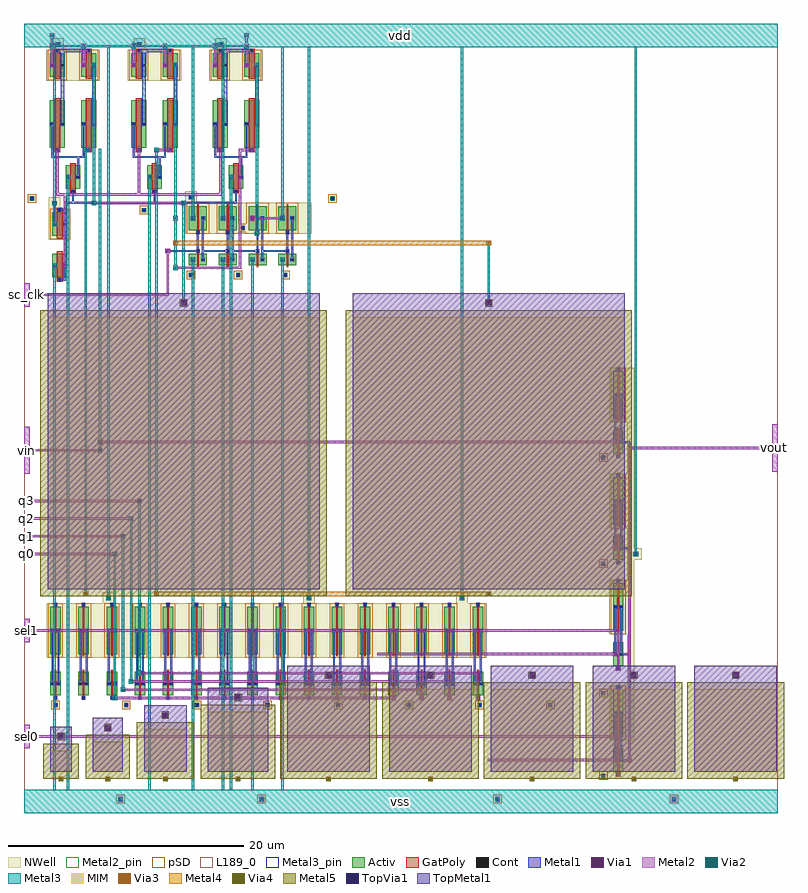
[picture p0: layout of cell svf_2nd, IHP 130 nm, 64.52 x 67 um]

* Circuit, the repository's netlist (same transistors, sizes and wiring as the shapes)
* 2nd-order SC SVF — IHP SG13G2 LVS reference netlist
* Transcribed from extracted layout topology
* 34 NMOS + 31 PMOS + 11 cap_cmim = 76 devices

.SUBCKT svf_2nd q0 q1 q2 q3 sc_clk sel0 sel1 vdd vin vout vss

* ---- SC CMOS switches (12 pairs: NMOS W=2u L=0.13u + PMOS W=4u L=0.13u) ----
MNs1  sa1  sg1  sb1  vss sg13_lv_nmos W=2u L=0.13u
MPs1  sa1  pg1  sb1  vdd sg13_lv_pmos W=4u L=0.13u
MNs2  sa2  sg2  sb2  vss sg13_lv_nmos W=2u L=0.13u
MPs2  sa2  pg2  sb2  vdd sg13_lv_pmos W=4u L=0.13u
MNs3  sa3  sg3  sb3  vss sg13_lv_nmos W=2u L=0.13u
MPs3  sa3  pg3  sb3  vdd sg13_lv_pmos W=4u L=0.13u
MNs4  sa4  sg4  sb4  vss sg13_lv_nmos W=2u L=0.13u
MPs4  sa4  pg4  sb4  vdd sg13_lv_pmos W=4u L=0.13u
MNs5  sa5  sg5  sb5  vss sg13_lv_nmos W=2u L=0.13u
MPs5  sa5  pg5  sb5  vdd sg13_lv_pmos W=4u L=0.13u
MNs6  sa6  sg6  sb6  vss sg13_lv_nmos W=2u L=0.13u
MPs6  sa6  pg6  sb6  vdd sg13_lv_pmos W=4u L=0.13u
MNs7  sa7  sg7  sb7  vss sg13_lv_nmos W=2u L=0.13u
MPs7  sa7  pg7  sb7  vdd sg13_lv_pmos W=4u L=0.13u
MNs8  sa8  sg8  sb8  vss sg13_lv_nmos W=2u L=0.13u
MPs8  sa8  pg8  sb8  vdd sg13_lv_pmos W=4u L=0.13u
MNs9  sa9  sg9  sb9  vss sg13_lv_nmos W=2u L=0.13u
MPs9  sa9  pg9  sb9  vdd sg13_lv_pmos W=4u L=0.13u
MNs10 sa10 sg10 sb10 vss sg13_lv_nmos W=2u L=0.13u
MPs10 sa10 pg10 sb10 vdd sg13_lv_pmos W=4u L=0.13u
MNs11 sa11 sg11 sb11 vss sg13_lv_nmos W=2u L=0.13u
MPs11 sa11 pg11 sb11 vdd sg13_lv_pmos W=4u L=0.13u
MNs12 sa12 sg12 sb12 vss sg13_lv_nmos W=2u L=0.13u
MPs12 sa12 pg12 sb12 vdd sg13_lv_pmos W=4u L=0.13u

* ---- Output mux TGs (4 pairs: NMOS W=2u L=0.13u + PMOS W=4u L=0.13u) ----
MNq0  ma1  q0   mb1  vss sg13_lv_nmos W=2u L=0.13u
MPq0  ma1  pq1  mb1  vdd sg13_lv_pmos W=4u L=0.13u
MNq1  ma2  q1   mb2  vss sg13_lv_nmos W=2u L=0.13u
MPq1  ma2  pq2  mb2  vdd sg13_lv_pmos W=4u L=0.13u
MNq2  ma3  q2   mb3  vss sg13_lv_nmos W=2u L=0.13u
MPq2  ma3  pq3  mb3  vdd sg13_lv_pmos W=4u L=0.13u
MNq3  ma4  q3   mb4  vss sg13_lv_nmos W=2u L=0.13u
MPq3  ma4  pq4  mb4  vdd sg13_lv_pmos W=4u L=0.13u

* ---- Mux pass gates to vout (4 pairs: NMOS W=2u L=0.13u + PMOS W=4u L=0.13u) ----
MNm0  sel0 sel0 vout vss sg13_lv_nmos W=2u L=0.13u
MPm0  sel0 ps0  vout vdd sg13_lv_pmos W=4u L=0.13u
MNm1  sel1 sel1 vout vss sg13_lv_nmos W=2u L=0.13u
MPm1  sel1 ps1  vout vdd sg13_lv_pmos W=4u L=0.13u
MNm2  vin  mvgn vout vss sg13_lv_nmos W=2u L=0.13u
MPm2  vin  mvgp vout vdd sg13_lv_pmos W=4u L=0.13u
MNm3  mx0a mx0g vout vss sg13_lv_nmos W=2u L=0.13u
MPm3  mx0a mx0p vout vdd sg13_lv_pmos W=4u L=0.13u

* ---- OTA1 (BP integrator): diff pair W=4u L=0.5u ----
MNd1a t1   vcm  d1   vss sg13_lv_nmos W=4u L=0.5u
MNd1b t1   sum1 bp   vss sg13_lv_nmos W=4u L=0.5u
* OTA1 tail (W=2u L=0.5u)
MNt1  vss  vcm  t1   vss sg13_lv_nmos W=2u L=0.5u
* OTA1 PMOS loads (W=2u L=0.5u)
MPl1a vdd  d1   d1   nw1 sg13_lv_pmos W=2u L=0.5u
MPl1b vdd  d1   bp   nw1 sg13_lv_pmos W=2u L=0.5u

* ---- OTA2 (LP integrator): diff pair W=4u L=0.5u ----
MNd2a t2   vcm  d2   vss sg13_lv_nmos W=4u L=0.5u
MNd2b t2   sum2 sum3 vss sg13_lv_nmos W=4u L=0.5u
* OTA2 tail (W=2u L=0.5u)
MNt2  vss  vcm  t2   vss sg13_lv_nmos W=2u L=0.5u
* OTA2 PMOS loads (W=2u L=0.5u)
MPl2a vdd  d2   d2   nw2 sg13_lv_pmos W=2u L=0.5u
MPl2b vdd  d2   sum3 nw2 sg13_lv_pmos W=2u L=0.5u

* ---- OTA3 (sum/feedback): diff pair W=4u L=0.5u ----
MNd3a t3   vcm  d3   vss sg13_lv_nmos W=4u L=0.5u
MNd3b t3   sum3 lp   vss sg13_lv_nmos W=4u L=0.5u
* OTA3 tail (W=2u L=0.5u)
MNt3  vss  vcm  t3   vss sg13_lv_nmos W=2u L=0.5u
* OTA3 PMOS loads (W=2u L=0.5u)
MPl3a vdd  d3   d3   nw3 sg13_lv_pmos W=2u L=0.5u
MPl3b vdd  d3   lp   nw3 sg13_lv_pmos W=2u L=0.5u

* ---- Bias (NMOS diode + PMOS diode, W=2u L=0.5u) ----
MNbias vss  vcm  vcm  vss sg13_lv_nmos W=2u L=0.5u
MPbias vdd  vcm  vcm  vdd sg13_lv_pmos W=2u L=0.5u

* ---- NOL clock chain (4 inverters: NMOS W=1u L=0.13u + PMOS W=2u L=0.13u) ----
MNn1  vss  sc_clk n1  vss sg13_lv_nmos W=1u L=0.13u
MPn1  vdd  sc_clk n1  nw0 sg13_lv_pmos W=2u L=0.13u
MNn2  vss  n1     n2  vss sg13_lv_nmos W=1u L=0.13u
MPn2  vdd  n1     n2  nw0 sg13_lv_pmos W=2u L=0.13u
MNn3  vss  n2     n3  vss sg13_lv_nmos W=1u L=0.13u
MPn3  vdd  n2     n3  nw0 sg13_lv_pmos W=2u L=0.13u
MNn4  vss  n3     n4  vss sg13_lv_nmos W=1u L=0.13u
MPn4  vdd  n3     n4  nw0 sg13_lv_pmos W=2u L=0.13u

* ---- MIM capacitors (cap_cmim) ----
* Binary-weighted CQ caps
CC1  ct1  cb1  cap_cmim w=1.805u l=1.805u A=3.258025p P=7.22u m=1
CC2  ct2  cb2  cap_cmim w=2.555u l=2.555u A=6.528025p P=10.22u m=1
CC3  ct3  cb3  cap_cmim w=3.615u l=3.615u A=13.068225p P=14.46u m=1
CC4  ct4  cb4  cap_cmim w=5.11u l=5.11u A=26.1121p P=20.44u m=1
* Switching caps (5x 7u)
CC5  ct5  cb5  cap_cmim w=7u l=7u A=49p P=28u m=1
CC6  ct6  cb6  cap_cmim w=7u l=7u A=49p P=28u m=1
CC7  ct7  cb7  cap_cmim w=7u l=7u A=49p P=28u m=1
CC8  ct8  cb8  cap_cmim w=7u l=7u A=49p P=28u m=1
CC9  ct9  cb9  cap_cmim w=7u l=7u A=49p P=28u m=1
* Integration caps (2x 23.1u)
CC10 ct10 sum2 cap_cmim w=23.1u l=23.1u A=533.61p P=92.4u m=1
CC11 ct11 sum1 cap_cmim w=23.1u l=23.1u A=533.61p P=92.4u m=1

.ENDS svf_2nd

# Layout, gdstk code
import gdstk
lib = gdstk.Library(unit=1e-6, precision=1e-09)
def R(c, l, rs):  # rectangles x0, y0, x1, y1
    for r in rs: c.add(gdstk.rectangle(r[:2], r[2:], *l))
def A(c, l, x, y, w, h, nx, ny, dx, dy):  # array of equal rectangles
    R(c, l, [(x+i*dx, y+j*dy, x+i*dx+w, y+j*dy+h) for i in range(nx) for j in range(ny)])
Activ = (1, 0)
GatPoly = (5, 0)
Cont = (6, 0)
Metal1 = (8, 0)
Metal2 = (10, 0)
Metal2_pin = (10, 2)
pSD = (14, 0)
Via1 = (19, 0)
Via2 = (29, 0)
Metal3 = (30, 0)
Metal3_pin = (30, 2)
NWell = (31, 0)
MIM = (36, 0)
Via3 = (49, 0)
Metal4 = (50, 0)
Via4 = (66, 0)
Metal5 = (67, 0)
TopVia1 = (125, 0)
TopMetal1 = (126, 0)
L189_0 = (189, 0)

svf_2nd = lib.new_cell('svf_2nd')
A(svf_2nd, Activ, 50, 3.5, 0.89, 2, 1, 4, 0, 9)
A(svf_2nd, Activ, 50, 6.5, 0.89, 4, 1, 4, 0, 9)
A(svf_2nd, Activ, 2.5, 9, 0.36, 0.36, 8, 1, 6, 0)
A(svf_2nd, Activ, 2.23, 10, 0.89, 2, 16, 1, 2.39, 0)
A(svf_2nd, Activ, 2.23, 13.5, 0.89, 4, 16, 1, 2.39, 0)
A(svf_2nd, Activ, 14, 45.5, 0.36, 0.36, 3, 1, 4, 0)
A(svf_2nd, Activ, 14, 46.5, 1.53, 1, 4, 1, 2.53, 0)
A(svf_2nd, Activ, 14, 49.5, 1.53, 2, 4, 1, 2.53, 0)
A(svf_2nd, Activ, 3.53, 53, 1.26, 2, 3, 1, 6.92, 0)
A(svf_2nd, Activ, 2.7, 65.1, 0.36, 0.36, 3, 1, 6.92, 0)
R(svf_2nd, Activ, [(8,1,8.36,1.36), (20,1,20.36,1.36), (40,1,40.36,1.36), (55,1,55.36,1.36), (49,3,49.36,3.36), (49,10,49.36,10.36), (7,18.1,7.36,18.46), (24,18.1,24.36,18.46), (37,18.1,37.36,18.46), (49,21,49.36,21.36), (51.75,21.82,52.11,22.18), (49,30,49.36,30.36), (2.4,45.5,3.66,47.5), (2.4,49,3.66,51), (18.4,49.5,18.76,49.86), (10,51,10.36,51.36), (2.4,51.6,2.76,51.96), (0.5,52,0.86,52.36), (26,52,26.36,52.36), (14,52.1,14.36,52.46), (2.2,56.5,3.46,60.5), (4.86,56.5,6.12,60.5), (9.12,56.5,10.38,60.5), (11.78,56.5,13.04,60.5), (16.04,56.5,17.3,60.5), (18.7,56.5,19.96,60.5), (2.2,62.5,3.46,64.5), (4.86,62.5,6.12,64.5), (9.12,62.5,10.38,64.5), (11.78,62.5,13.04,64.5), (16.04,62.5,17.3,64.5), (18.7,62.5,19.96,64.5)])
A(svf_2nd, GatPoly, 50.38, 3.32, 0.13, 2.36, 1, 4, 0, 9)
A(svf_2nd, GatPoly, 50.38, 6.32, 0.13, 4.36, 1, 4, 0, 9)
A(svf_2nd, GatPoly, 2.61, 9.62, 0.13, 0.2, 16, 2, 2.39, 8.06)
A(svf_2nd, GatPoly, 2.61, 9.82, 0.13, 2.36, 16, 1, 2.39, 0)
A(svf_2nd, GatPoly, 2.61, 13.32, 0.13, 4.36, 16, 1, 2.39, 0)
A(svf_2nd, GatPoly, 14.7, 46.32, 0.13, 1.36, 4, 1, 2.53, 0)
A(svf_2nd, GatPoly, 14.7, 47.68, 0.13, 0.2, 4, 2, 2.53, 1.44)
A(svf_2nd, GatPoly, 14.7, 49.32, 0.13, 2.36, 4, 1, 2.53, 0)
A(svf_2nd, GatPoly, 3.91, 52.62, 0.5, 0.2, 3, 1, 6.92, 0)
A(svf_2nd, GatPoly, 3.91, 52.82, 0.5, 2.36, 3, 1, 6.92, 0)
R(svf_2nd, GatPoly, [(50.38,3.12,50.51,3.32), (50.38,10.68,50.51,10.88), (50.38,12.12,50.51,12.32), (50.38,19.68,50.51,19.88), (50.38,21.12,50.51,21.32), (50.38,28.68,50.51,28.88), (50.38,30.12,50.51,30.32), (50.38,37.68,50.51,37.88), (2.78,45.12,3.28,45.32), (2.78,45.32,3.28,47.68), (2.78,48.82,3.28,51.18), (2.78,51.18,3.28,51.38), (2.58,56.12,3.08,56.32), (5.24,56.12,5.74,56.32), (9.5,56.12,10,56.32), (12.16,56.12,12.66,56.32), (16.42,56.12,16.92,56.32), (19.08,56.12,19.58,56.32), (2.58,56.32,3.08,60.68), (5.24,56.32,5.74,60.68), (9.5,56.32,10,60.68), (12.16,56.32,12.66,60.68), (16.42,56.32,16.92,60.68), (19.08,56.32,19.58,60.68), (2.58,62.32,3.08,64.68), (5.24,62.32,5.74,64.68), (9.5,62.32,10,64.68), (12.16,62.32,12.66,64.68), (16.42,62.32,16.92,64.68), (19.08,62.32,19.58,64.68), (2.58,64.68,3.08,64.88), (5.24,64.68,5.74,64.88), (9.5,64.68,10,64.88), (12.16,64.68,12.66,64.88), (16.42,64.68,16.92,64.88), (19.08,64.68,19.58,64.88)])
A(svf_2nd, Cont, 2.6, 9.1, 0.16, 0.16, 8, 1, 6, 0)
A(svf_2nd, Cont, 2.595, 9.7, 0.16, 0.16, 16, 2, 2.39, 7.94)
A(svf_2nd, Cont, 14.1, 45.6, 0.16, 0.16, 3, 1, 4, 0)
A(svf_2nd, Cont, 14.685, 47.64, 0.16, 0.16, 4, 2, 2.53, 1.56)
A(svf_2nd, Cont, 4.08, 52.7, 0.16, 0.16, 3, 1, 6.92, 0)
A(svf_2nd, Cont, 2.8, 65.2, 0.16, 0.16, 3, 1, 6.92, 0)
R(svf_2nd, Cont, [(8.1,1.1,8.26,1.26), (20.1,1.1,20.26,1.26), (40.1,1.1,40.26,1.26), (55.1,1.1,55.26,1.26), (49.1,3.1,49.26,3.26), (50.365,3.2,50.525,3.36), (50.11,4.42,50.27,4.58), (50.62,4.42,50.78,4.58), (50.11,8.42,50.27,8.58), (50.62,8.42,50.78,8.58), (49.1,10.1,49.26,10.26), (50.365,10.64,50.525,10.8), (2.34,10.92,2.5,11.08), (2.85,10.92,3.01,11.08), (4.73,10.92,4.89,11.08), (5.24,10.92,5.4,11.08), (7.12,10.92,7.28,11.08), (7.63,10.92,7.79,11.08), (9.51,10.92,9.67,11.08), (10.02,10.92,10.18,11.08), (11.9,10.92,12.06,11.08), (12.41,10.92,12.57,11.08), (14.29,10.92,14.45,11.08), (14.8,10.92,14.96,11.08), (16.68,10.92,16.84,11.08), (17.19,10.92,17.35,11.08), (19.07,10.92,19.23,11.08), (19.58,10.92,19.74,11.08), (21.46,10.92,21.62,11.08), (21.97,10.92,22.13,11.08), (23.85,10.92,24.01,11.08), (24.36,10.92,24.52,11.08), (26.24,10.92,26.4,11.08), (26.75,10.92,26.91,11.08), (28.63,10.92,28.79,11.08), (29.14,10.92,29.3,11.08), (31.02,10.92,31.18,11.08), (31.53,10.92,31.69,11.08), (33.41,10.92,33.57,11.08), (33.92,10.92,34.08,11.08), (35.8,10.92,35.96,11.08), (36.31,10.92,36.47,11.08), (38.19,10.92,38.35,11.08), (38.7,10.92,38.86,11.08), (50.365,12.2,50.525,12.36), (50.11,13.42,50.27,13.58), (50.62,13.42,50.78,13.58), (2.34,15.42,2.5,15.58), (2.85,15.42,3.01,15.58), (4.73,15.42,4.89,15.58), (5.24,15.42,5.4,15.58), (7.12,15.42,7.28,15.58), (7.63,15.42,7.79,15.58), (9.51,15.42,9.67,15.58), (10.02,15.42,10.18,15.58), (11.9,15.42,12.06,15.58), (12.41,15.42,12.57,15.58), (14.29,15.42,14.45,15.58), (14.8,15.42,14.96,15.58), (16.68,15.42,16.84,15.58), (17.19,15.42,17.35,15.58), (19.07,15.42,19.23,15.58), (19.58,15.42,19.74,15.58), (21.46,15.42,21.62,15.58), (21.97,15.42,22.13,15.58), (23.85,15.42,24.01,15.58), (24.36,15.42,24.52,15.58), (26.24,15.42,26.4,15.58), (26.75,15.42,26.91,15.58), (28.63,15.42,28.79,15.58), (29.14,15.42,29.3,15.58), (31.02,15.42,31.18,15.58), (31.53,15.42,31.69,15.58), (33.41,15.42,33.57,15.58), (33.92,15.42,34.08,15.58), (35.8,15.42,35.96,15.58), (36.31,15.42,36.47,15.58), (38.19,15.42,38.35,15.58), (38.7,15.42,38.86,15.58), (50.11,17.42,50.27,17.58), (50.62,17.42,50.78,17.58), (7.1,18.2,7.26,18.36), (24.1,18.2,24.26,18.36), (37.1,18.2,37.26,18.36), (50.365,19.64,50.525,19.8), (49.1,21.1,49.26,21.26), (50.365,21.2,50.525,21.36), (51.85,21.92,52.01,22.08), (50.11,22.42,50.27,22.58), (50.62,22.42,50.78,22.58), (50.11,26.42,50.27,26.58), (50.62,26.42,50.78,26.58), (50.365,28.64,50.525,28.8), (49.1,30.1,49.26,30.26), (50.365,30.2,50.525,30.36), (50.11,31.42,50.27,31.58), (50.62,31.42,50.78,31.58), (50.11,35.42,50.27,35.58), (50.62,35.42,50.78,35.58), (50.365,37.64,50.525,37.8), (2.95,45.2,3.11,45.36), (2.51,46.42,2.67,46.58), (3.39,46.42,3.55,46.58), (14.27,46.92,14.43,47.08), (15.1,46.92,15.26,47.08), (16.8,46.92,16.96,47.08), (17.63,46.92,17.79,47.08), (19.33,46.92,19.49,47.08), (20.16,46.92,20.32,47.08), (21.86,46.92,22.02,47.08), (22.69,46.92,22.85,47.08), (18.5,49.6,18.66,49.76), (2.51,49.92,2.67,50.08), (3.39,49.92,3.55,50.08), (14.27,50.42,14.43,50.58), (15.1,50.42,15.26,50.58), (16.8,50.42,16.96,50.58), (17.63,50.42,17.79,50.58), (19.33,50.42,19.49,50.58), (20.16,50.42,20.32,50.58), (21.86,50.42,22.02,50.58), (22.69,50.42,22.85,50.58), (10.1,51.1,10.26,51.26), (2.95,51.14,3.11,51.3), (2.5,51.7,2.66,51.86), (0.6,52.1,0.76,52.26), (26.1,52.1,26.26,52.26), (14.1,52.2,14.26,52.36), (3.64,53.92,3.8,54.08), (4.52,53.92,4.68,54.08), (10.56,53.92,10.72,54.08), (11.44,53.92,11.6,54.08), (17.48,53.92,17.64,54.08), (18.36,53.92,18.52,54.08), (2.75,56.2,2.91,56.36), (5.41,56.2,5.57,56.36), (9.67,56.2,9.83,56.36), (12.33,56.2,12.49,56.36), (16.59,56.2,16.75,56.36), (19.25,56.2,19.41,56.36), (2.31,58.42,2.47,58.58), (3.19,58.42,3.35,58.58), (4.97,58.42,5.13,58.58), (5.85,58.42,6.01,58.58), (9.23,58.42,9.39,58.58), (10.11,58.42,10.27,58.58), (11.89,58.42,12.05,58.58), (12.77,58.42,12.93,58.58), (16.15,58.42,16.31,58.58), (17.03,58.42,17.19,58.58), (18.81,58.42,18.97,58.58), (19.69,58.42,19.85,58.58), (2.31,63.42,2.47,63.58), (3.19,63.42,3.35,63.58), (4.97,63.42,5.13,63.58), (5.85,63.42,6.01,63.58), (9.23,63.42,9.39,63.58), (10.11,63.42,10.27,63.58), (11.89,63.42,12.05,63.58), (12.77,63.42,12.93,63.58), (16.15,63.42,16.31,63.58), (17.03,63.42,17.19,63.58), (18.81,63.42,18.97,63.58), (19.69,63.42,19.85,63.58), (2.75,64.64,2.91,64.8), (5.41,64.64,5.57,64.8), (9.67,64.64,9.83,64.8), (12.33,64.64,12.49,64.8), (16.59,64.64,16.75,64.8), (19.25,64.64,19.41,64.8)])
A(svf_2nd, Metal1, 50.11, 4.42, 0.16, 4.16, 1, 4, 0, 9)
A(svf_2nd, Metal1, 50.62, 4.42, 0.16, 4.16, 1, 4, 0, 9)
A(svf_2nd, Metal1, 50.62, 4.42, 0.85, 0.16, 1, 4, 0, 9)
A(svf_2nd, Metal1, 2.53, 9.03, 0.3, 0.3, 8, 1, 6, 0)
A(svf_2nd, Metal1, 2.525, 9.63, 0.3, 0.3, 13, 1, 2.39, 0)
A(svf_2nd, Metal1, 2.525, 17.57, 0.3, 0.3, 16, 1, 2.39, 0)
A(svf_2nd, Metal1, 14.03, 45.53, 0.3, 0.3, 3, 1, 4, 0)
A(svf_2nd, Metal1, 15.1, 46.92, 0.16, 3.66, 4, 1, 2.53, 0)
A(svf_2nd, Metal1, 15.1, 46.92, 0.16, 0.88, 3, 1, 2.53, 0)
A(svf_2nd, Metal1, 14.615, 47.57, 0.3, 0.3, 4, 2, 2.53, 1.56)
A(svf_2nd, Metal1, 14.685, 47.64, 0.16, 1.72, 4, 1, 2.53, 0)
A(svf_2nd, Metal1, 15.1, 47.64, 2.275, 0.16, 3, 1, 2.53, 0)
A(svf_2nd, Metal1, 4.08, 51.72, 0.16, 1.14, 3, 1, 6.92, 0)
A(svf_2nd, Metal1, 4.01, 52.63, 0.3, 0.3, 3, 1, 6.92, 0)
A(svf_2nd, Metal1, 4.52, 53.92, 0.16, 1.86, 3, 1, 6.92, 0)
A(svf_2nd, Metal1, 2.31, 55.62, 2.82, 0.16, 3, 1, 6.92, 0)
A(svf_2nd, Metal1, 3.12, 63.65, 0.3, 0.92, 3, 1, 6.92, 0)
A(svf_2nd, Metal1, 2.68, 64.57, 2.96, 0.3, 3, 1, 6.92, 0)
A(svf_2nd, Metal1, 2.73, 65.13, 0.3, 0.3, 3, 1, 6.92, 0)
A(svf_2nd, Metal1, 2.31, 65.2, 0.65, 0.16, 3, 1, 6.92, 0)
R(svf_2nd, Metal1, [(8.03,1.03,8.33,1.33), (8.03,1.03,8.33,1.33), (20.03,1.03,20.33,1.33), (20.03,1.03,20.33,1.33), (40.03,1.03,40.33,1.33), (40.03,1.03,40.33,1.33), (55.03,1.03,55.33,1.33), (55.03,1.03,55.33,1.33), (49.03,3.03,49.33,3.33), (50.295,3.13,50.595,3.43), (50.295,3.13,50.595,3.43), (50.04,4.35,50.34,4.65), (50.04,4.35,50.34,4.65), (50.55,4.35,50.85,4.65), (51.24,4.35,51.54,4.65), (51.31,4.42,51.47,31.58), (50.04,8.35,50.34,8.65), (50.55,8.35,50.85,8.65), (31.205,9.63,31.505,9.93), (33.595,9.63,33.895,9.93), (33.595,9.63,33.895,9.93), (35.985,9.63,36.285,9.93), (35.985,9.63,36.285,9.93), (38.375,9.63,38.675,9.93), (38.375,9.63,38.675,9.93), (49.03,10.03,49.33,10.33), (50.295,10.57,50.595,10.87), (2.27,10.85,2.57,11.15), (2.78,10.85,3.08,11.15), (4.66,10.85,4.96,11.15), (5.17,10.85,5.47,11.15), (7.05,10.85,7.35,11.15), (7.56,10.85,7.86,11.15), (9.44,10.85,9.74,11.15), (9.95,10.85,10.25,11.15), (11.83,10.85,12.13,11.15), (12.34,10.85,12.64,11.15), (14.22,10.85,14.52,11.15), (14.73,10.85,15.03,11.15), (16.61,10.85,16.91,11.15), (17.12,10.85,17.42,11.15), (19,10.85,19.3,11.15), (19.51,10.85,19.81,11.15), (21.39,10.85,21.69,11.15), (21.9,10.85,22.2,11.15), (23.78,10.85,24.08,11.15), (24.29,10.85,24.59,11.15), (26.17,10.85,26.47,11.15), (26.68,10.85,26.98,11.15), (28.56,10.85,28.86,11.15), (29.07,10.85,29.37,11.15), (30.95,10.85,31.25,11.15), (31.46,10.85,31.76,11.15), (33.34,10.85,33.64,11.15), (33.85,10.85,34.15,11.15), (35.73,10.85,36.03,11.15), (36.24,10.85,36.54,11.15), (38.12,10.85,38.42,11.15), (38.63,10.85,38.93,11.15), (2.34,10.92,2.5,15.58), (2.85,10.92,3.01,15.58), (4.73,10.92,4.89,15.58), (5.24,10.92,5.4,15.58), (7.12,10.92,7.28,15.58), (7.63,10.92,7.79,15.58), (9.51,10.92,9.67,15.58), (10.02,10.92,10.18,15.58), (11.9,10.92,12.06,15.58), (12.41,10.92,12.57,15.58), (14.29,10.92,14.45,15.58), (14.8,10.92,14.96,15.58), (16.68,10.92,16.84,15.58), (17.19,10.92,17.35,15.58), (19.07,10.92,19.23,15.58), (19.58,10.92,19.74,15.58), (21.46,10.92,21.62,15.58), (21.97,10.92,22.13,15.58), (23.85,10.92,24.01,15.58), (24.36,10.92,24.52,15.58), (26.24,10.92,26.4,15.58), (26.75,10.92,26.91,15.58), (28.63,10.92,28.79,15.58), (29.14,10.92,29.3,15.58), (31.02,10.92,31.18,15.58), (31.53,10.92,31.69,15.58), (33.41,10.92,33.57,15.58), (33.92,10.92,34.08,15.58), (35.8,10.92,35.96,15.58), (36.31,10.92,36.47,15.58), (38.19,10.92,38.35,15.58), (38.7,10.92,38.86,15.58), (50.295,12.13,50.595,12.43), (50.295,12.13,50.595,12.43), (50.04,13.35,50.34,13.65), (50.04,13.35,50.34,13.65), (50.55,13.35,50.85,13.65), (2.27,15.35,2.57,15.65), (2.78,15.35,3.08,15.65), (4.66,15.35,4.96,15.65), (5.17,15.35,5.47,15.65), (7.05,15.35,7.35,15.65), (7.56,15.35,7.86,15.65), (9.44,15.35,9.74,15.65), (9.95,15.35,10.25,15.65), (11.83,15.35,12.13,15.65), (12.34,15.35,12.64,15.65), (14.22,15.35,14.52,15.65), (14.73,15.35,15.03,15.65), (16.61,15.35,16.91,15.65), (17.12,15.35,17.42,15.65), (19,15.35,19.3,15.65), (19.51,15.35,19.81,15.65), (21.39,15.35,21.69,15.65), (21.9,15.35,22.2,15.65), (23.78,15.35,24.08,15.65), (24.29,15.35,24.59,15.65), (26.17,15.35,26.47,15.65), (26.68,15.35,26.98,15.65), (28.56,15.35,28.86,15.65), (29.07,15.35,29.37,15.65), (30.95,15.35,31.25,15.65), (31.46,15.35,31.76,15.65), (33.34,15.35,33.64,15.65), (33.85,15.35,34.15,15.65), (35.73,15.35,36.03,15.65), (36.24,15.35,36.54,15.65), (38.12,15.35,38.42,15.65), (38.63,15.35,38.93,15.65), (50.04,17.35,50.34,17.65), (50.55,17.35,50.85,17.65), (7.03,18.13,7.33,18.43), (7.03,18.13,7.33,18.43), (24.03,18.13,24.33,18.43), (24.03,18.13,24.33,18.43), (37.03,18.13,37.33,18.43), (37.03,18.13,37.33,18.43), (50.295,19.57,50.595,19.87), (49.03,21.03,49.33,21.33), (50.295,21.13,50.595,21.43), (51.78,21.85,52.08,22.15), (51.78,21.85,52.08,22.15), (50.04,22.35,50.34,22.65), (50.04,22.35,50.34,22.65), (50.55,22.35,50.85,22.65), (50.04,26.35,50.34,26.65), (50.55,26.35,50.85,26.65), (50.295,28.57,50.595,28.87), (49.03,30.03,49.33,30.33), (50.295,30.13,50.595,30.43), (50.04,31.35,50.34,31.65), (50.04,31.35,50.34,31.65), (50.55,31.35,50.85,31.65), (50.04,35.35,50.34,35.65), (50.55,35.35,50.85,35.65), (50.295,37.57,50.595,37.87), (2.88,45.13,3.18,45.43), (2.95,45.2,3.55,45.36), (3.39,45.2,3.55,46.58), (2.44,46.35,2.74,46.65), (2.44,46.35,2.74,46.65), (3.32,46.35,3.62,46.65), (3.32,46.35,3.62,46.65), (3.39,46.42,3.55,50.08), (3.39,46.42,3.55,51.88), (14.2,46.85,14.5,47.15), (14.2,46.85,14.5,47.15), (15.03,46.85,15.33,47.15), (16.73,46.85,17.03,47.15), (16.73,46.85,17.03,47.15), (17.56,46.85,17.86,47.15), (19.26,46.85,19.56,47.15), (19.26,46.85,19.56,47.15), (20.09,46.85,20.39,47.15), (21.79,46.85,22.09,47.15), (21.79,46.85,22.09,47.15), (22.62,46.85,22.92,47.15), (12.05,47.57,12.35,47.87), (12.12,47.64,14.915,47.8), (18.43,49.53,18.73,49.83), (2.44,49.85,2.74,50.15), (2.44,49.85,2.74,50.15), (3.32,49.85,3.62,50.15), (2.51,49.92,2.67,51.86), (3.39,49.92,3.55,51.3), (14.2,50.35,14.5,50.65), (14.2,50.35,14.5,50.65), (15.03,50.35,15.33,50.65), (16.73,50.35,17.03,50.65), (16.73,50.35,17.03,50.65), (17.56,50.35,17.86,50.65), (19.26,50.35,19.56,50.65), (19.26,50.35,19.56,50.65), (20.09,50.35,20.39,50.65), (21.79,50.35,22.09,50.65), (21.79,50.35,22.09,50.65), (22.62,50.35,22.92,50.65), (10.03,51.03,10.33,51.33), (2.88,51.07,3.18,51.37), (2.95,51.14,3.55,51.3), (2.43,51.63,2.73,51.93), (2.5,51.7,2.67,51.86), (3.39,51.72,18.08,51.88), (0.53,52.03,0.83,52.33), (26.03,52.03,26.33,52.33), (14.03,52.13,14.33,52.43), (3.57,53.85,3.87,54.15), (3.57,53.85,3.87,54.15), (4.45,53.85,4.75,54.15), (10.49,53.85,10.79,54.15), (10.49,53.85,10.79,54.15), (11.37,53.85,11.67,54.15), (17.41,53.85,17.71,54.15), (17.41,53.85,17.71,54.15), (18.29,53.85,18.59,54.15), (2.31,55.62,2.47,58.58), (4.97,55.62,5.13,58.58), (9.23,55.62,9.39,58.58), (11.89,55.62,12.05,58.58), (16.15,55.62,16.31,58.58), (18.81,55.62,18.97,58.58), (2.68,56.13,2.98,56.43), (2.68,56.13,2.98,56.43), (5.34,56.13,5.64,56.43), (5.34,56.13,5.64,56.43), (9.6,56.13,9.9,56.43), (9.6,56.13,9.9,56.43), (12.26,56.13,12.56,56.43), (12.26,56.13,12.56,56.43), (16.52,56.13,16.82,56.43), (16.52,56.13,16.82,56.43), (19.18,56.13,19.48,56.43), (19.18,56.13,19.48,56.43), (2.24,58.35,2.54,58.65), (3.12,58.35,3.42,58.65), (3.12,58.35,3.42,63.65), (4.9,58.35,5.2,58.65), (5.78,58.35,6.08,58.65), (5.78,58.35,6.08,63.65), (9.16,58.35,9.46,58.65), (10.04,58.35,10.34,58.65), (10.04,58.35,10.34,63.65), (11.82,58.35,12.12,58.65), (12.7,58.35,13,58.65), (12.7,58.35,13,63.65), (16.08,58.35,16.38,58.65), (16.96,58.35,17.26,58.65), (16.96,58.35,17.26,63.65), (18.74,58.35,19.04,58.65), (19.62,58.35,19.92,58.65), (19.62,58.35,19.92,63.65), (2.24,63.35,2.54,63.65), (2.24,63.35,2.54,63.65), (3.12,63.35,3.42,63.65), (4.9,63.35,5.2,63.65), (4.9,63.35,5.2,63.65), (5.78,63.35,6.08,63.65), (5.78,63.35,6.08,63.65), (9.16,63.35,9.46,63.65), (9.16,63.35,9.46,63.65), (10.04,63.35,10.34,63.65), (11.82,63.35,12.12,63.65), (11.82,63.35,12.12,63.65), (12.7,63.35,13,63.65), (12.7,63.35,13,63.65), (16.08,63.35,16.38,63.65), (16.08,63.35,16.38,63.65), (16.96,63.35,17.26,63.65), (18.74,63.35,19.04,63.65), (18.74,63.35,19.04,63.65), (19.62,63.35,19.92,63.65), (19.62,63.35,19.92,63.65), (2.68,64.57,2.98,64.87), (5.34,64.57,5.64,64.87), (9.6,64.57,9.9,64.87), (12.26,64.57,12.56,64.87), (16.52,64.57,16.82,64.87), (19.18,64.57,19.48,64.87)])
A(svf_2nd, Metal2, 25.66, 2.705, 0.39, 0.39, 5, 1, 8.64, 0)
A(svf_2nd, Metal2, 49.995, 4.305, 0.39, 0.39, 1, 4, 0, 9)
A(svf_2nd, Metal2, 31.16, 9.585, 0.39, 0.39, 4, 1, 2.39, 0)
A(svf_2nd, Metal2, 0, 21.7, 0.5, 0.6, 1, 4, 0, 1.5)
A(svf_2nd, Metal2, 12.655, 46.105, 0.39, 0.39, 1, 3, 0, 2.1)
A(svf_2nd, Metal2, 16.685, 50.305, 0.39, 0.39, 3, 1, 2.53, 0)
A(svf_2nd, Metal2, 2.73, 52.4, 0.2, 3.98, 3, 1, 6.92, 0)
R(svf_2nd, Metal2, [(7.985,0.985,8.375,1.375), (7.985,0.985,8.375,1.375), (19.985,0.985,20.375,1.375), (19.985,0.985,20.375,1.375), (39.985,0.985,40.375,1.375), (39.985,0.985,40.375,1.375), (54.985,0.985,55.375,1.375), (54.985,0.985,55.375,1.375), (2.935,2.705,3.325,3.095), (6.915,2.705,7.305,3.095), (11.8,2.705,12.19,3.095), (17.965,2.705,18.355,3.095), (50.25,3.085,50.64,3.475), (50.345,3.18,50.545,6.6), (51.195,4.305,51.585,4.695), (39.35,4.4,50.29,4.6), (51.29,4.4,51.49,31.1), (0,5.5,0.5,7.5), (0,6.4,50.545,6.6), (7.505,9.585,7.895,9.975), (7.6,9.68,31.455,9.88), (31.255,9.68,31.455,9.88), (33.645,9.68,33.845,10.58), (36.035,9.68,36.235,11.28), (38.425,9.68,38.625,11.98), (8.205,10.285,8.595,10.675), (8.3,10.38,33.845,10.58), (8.905,10.985,9.295,11.375), (9,11.08,36.235,11.28), (9.605,11.685,9.995,12.075), (9.7,11.78,38.625,11.98), (50.25,12.085,50.64,12.475), (50.345,12.18,50.545,15.6), (30,13.4,50.29,13.6), (0,14.5,0.5,16.5), (0,15.4,50.545,15.6), (6.985,18.085,7.375,18.475), (6.985,18.085,7.375,18.475), (23.985,18.085,24.375,18.475), (23.985,18.085,24.375,18.475), (36.985,18.085,37.375,18.475), (36.985,18.085,37.375,18.475), (5.045,18.405,5.435,18.795), (39.255,18.405,39.645,18.795), (7.505,21.805,7.895,22.195), (51.735,21.805,52.125,22.195), (51.735,21.805,52.125,22.195), (0,21.9,7.8,22.1), (8.205,23.305,8.595,23.695), (0,23.4,8.5,23.6), (8.905,24.805,9.295,25.195), (0,24.9,9.2,25.1), (9.605,26.305,9.995,26.695), (0,26.4,9.9,26.6), (0,28.8,0.5,32.8), (63.5,29,64,33), (6.255,30.605,6.645,30.995), (0,30.7,6.55,30.9), (51.29,30.9,64,31.1), (6.255,31.305,6.645,31.695), (6.35,31.4,50.29,31.6), (0,43,0.5,45), (0,43.9,12.3,44.1), (12.1,43.9,12.3,47.82), (12.75,46.2,18.43,46.4), (18.23,46.2,18.43,56.38), (2.395,46.305,2.785,46.695), (2.395,46.305,2.785,46.695), (3.275,46.305,3.665,46.695), (3.37,46.4,3.57,52.6), (14.155,46.805,14.545,47.195), (14.155,46.805,14.545,47.195), (16.685,46.805,17.075,47.195), (16.685,46.805,17.075,47.195), (19.215,46.805,19.605,47.195), (19.215,46.805,19.605,47.195), (21.745,46.805,22.135,47.195), (21.745,46.805,22.135,47.195), (12.005,47.525,12.395,47.915), (19.575,49.005,19.965,49.395), (2.395,49.805,2.785,50.195), (2.395,49.805,2.785,50.195), (14.155,50.305,14.545,50.695), (14.155,50.305,14.545,50.695), (16.685,50.305,17.075,50.695), (21.745,50.305,22.135,50.695), (19.31,50.4,22.04,50.6), (5.735,51.605,6.125,51.995), (13.355,51.605,13.745,51.995), (5.83,51.7,13.65,51.9), (2.93,52.4,3.37,52.6), (3.37,52.4,9.85,52.6), (3.37,52.4,16.77,52.6), (3.525,53.805,3.915,54.195), (3.525,53.805,3.915,54.195), (10.445,53.805,10.835,54.195), (10.445,53.805,10.835,54.195), (17.365,53.805,17.755,54.195), (17.365,53.805,17.755,54.195), (2.635,56.085,3.025,56.475), (5.045,56.085,5.435,56.475), (5.295,56.085,5.685,56.475), (9.555,56.085,9.945,56.475), (11.055,56.085,11.445,56.475), (12.215,56.085,12.605,56.475), (16.475,56.085,16.865,56.475), (19.135,56.085,19.525,56.475), (5.14,56.18,5.59,56.38), (11.15,56.18,12.51,56.38), (18.23,56.18,19.43,56.38), (2.195,63.305,2.585,63.695), (4.855,63.305,5.245,63.695), (5.735,63.305,6.125,63.695), (5.735,63.305,6.125,63.695), (9.115,63.305,9.505,63.695), (11.775,63.305,12.165,63.695), (12.655,63.305,13.045,63.695), (12.655,63.305,13.045,63.695), (16.035,63.305,16.425,63.695), (18.695,63.305,19.085,63.695), (19.575,63.305,19.965,63.695), (19.575,63.305,19.965,63.695), (2.29,63.4,2.49,65.2), (4.95,63.4,5.15,65.2), (9.21,63.4,9.41,65.2), (11.87,63.4,12.07,65.2), (16.13,63.4,16.33,65.2), (18.79,63.4,18.99,65.2), (2.195,64.905,2.585,65.295), (4.855,64.905,5.245,65.295), (9.115,64.905,9.505,65.295), (11.775,64.905,12.165,65.295), (16.035,64.905,16.425,65.295), (18.695,64.905,19.085,65.295), (2.29,65,18.99,65.2), (2.29,65,2.49,66.1), (18.79,65,18.99,66.1), (2.195,65.805,2.585,66.195), (18.695,65.805,19.085,66.195)])
A(svf_2nd, Metal2_pin, 0, 21.7, 0.5, 0.6, 1, 4, 0, 1.5)
R(svf_2nd, Metal2_pin, [(0,5.5,0.5,7.5), (0,14.5,0.5,16.5), (0,28.8,0.5,32.8), (63.5,29,64,33), (0,43,0.5,45)])
A(svf_2nd, pSD, 49.82, 6.2, 1.25, 4.6, 1, 4, 0, 9)
A(svf_2nd, pSD, 2.32, 8.82, 0.72, 0.72, 8, 1, 6, 0)
A(svf_2nd, pSD, 2.05, 13.2, 1.25, 4.6, 16, 1, 2.39, 0)
A(svf_2nd, pSD, 13.82, 45.32, 0.72, 0.72, 3, 1, 4, 0)
A(svf_2nd, pSD, 13.82, 49.2, 1.89, 2.6, 4, 1, 2.53, 0)
R(svf_2nd, pSD, [(7.82,0.82,8.54,1.54), (19.82,0.82,20.54,1.54), (39.82,0.82,40.54,1.54), (54.82,0.82,55.54,1.54), (48.82,2.82,49.54,3.54), (48.82,9.82,49.54,10.54), (48.82,20.82,49.54,21.54), (48.82,29.82,49.54,30.54), (2.22,48.7,3.84,51.3), (18.22,49.32,18.94,50.04), (9.82,50.82,10.54,51.54), (0.32,51.82,1.04,52.54), (25.82,51.82,26.54,52.54), (2.02,62.2,3.64,64.8), (4.68,62.2,6.3,64.8), (8.94,62.2,10.56,64.8), (11.6,62.2,13.22,64.8), (15.86,62.2,17.48,64.8), (18.52,62.2,20.14,64.8)])
A(svf_2nd, Via1, 50.095, 4.405, 0.19, 0.19, 1, 4, 0, 9)
A(svf_2nd, Via1, 31.26, 9.685, 0.19, 0.19, 4, 1, 2.39, 0)
A(svf_2nd, Via1, 14.255, 46.905, 0.19, 0.19, 4, 2, 2.53, 3.5)
A(svf_2nd, Via1, 3.625, 53.905, 0.19, 0.19, 3, 1, 6.92, 0)
R(svf_2nd, Via1, [(8.085,1.085,8.275,1.275), (20.085,1.085,20.275,1.275), (40.085,1.085,40.275,1.275), (55.085,1.085,55.275,1.275), (50.35,3.185,50.54,3.375), (51.295,4.405,51.485,4.595), (50.35,12.185,50.54,12.375), (7.085,18.185,7.275,18.375), (24.085,18.185,24.275,18.375), (37.085,18.185,37.275,18.375), (51.835,21.905,52.025,22.095), (2.495,46.405,2.685,46.595), (3.375,46.405,3.565,46.595), (12.105,47.625,12.295,47.815), (2.495,49.905,2.685,50.095), (2.735,56.185,2.925,56.375), (5.395,56.185,5.585,56.375), (9.655,56.185,9.845,56.375), (12.315,56.185,12.505,56.375), (16.575,56.185,16.765,56.375), (19.235,56.185,19.425,56.375), (2.295,63.405,2.485,63.595), (4.955,63.405,5.145,63.595), (5.835,63.405,6.025,63.595), (9.215,63.405,9.405,63.595), (11.875,63.405,12.065,63.595), (12.755,63.405,12.945,63.595), (16.135,63.405,16.325,63.595), (18.795,63.405,18.985,63.595), (19.675,63.405,19.865,63.595)])
A(svf_2nd, Via2, 25.76, 2.805, 0.19, 0.19, 5, 1, 8.64, 0)
A(svf_2nd, Via2, 12.755, 46.205, 0.19, 0.19, 1, 3, 0, 2.1)
A(svf_2nd, Via2, 14.255, 46.905, 0.19, 0.19, 4, 1, 2.53, 0)
A(svf_2nd, Via2, 3.625, 53.905, 0.19, 0.19, 3, 1, 6.92, 0)
A(svf_2nd, Via2, 5.835, 63.405, 0.19, 0.19, 3, 1, 6.92, 0)
R(svf_2nd, Via2, [(8.085,1.085,8.275,1.275), (20.085,1.085,20.275,1.275), (40.085,1.085,40.275,1.275), (55.085,1.085,55.275,1.275), (3.035,2.805,3.225,2.995), (7.015,2.805,7.205,2.995), (11.9,2.805,12.09,2.995), (18.065,2.805,18.255,2.995), (7.605,9.685,7.795,9.875), (8.305,10.385,8.495,10.575), (9.005,11.085,9.195,11.275), (9.705,11.785,9.895,11.975), (7.085,18.185,7.275,18.375), (24.085,18.185,24.275,18.375), (37.085,18.185,37.275,18.375), (5.145,18.505,5.335,18.695), (39.355,18.505,39.545,18.695), (7.605,21.905,7.795,22.095), (51.835,21.905,52.025,22.095), (8.305,23.405,8.495,23.595), (9.005,24.905,9.195,25.095), (9.705,26.405,9.895,26.595), (6.355,30.705,6.545,30.895), (6.355,31.405,6.545,31.595), (2.495,46.405,2.685,46.595), (19.675,49.105,19.865,49.295), (2.495,49.905,2.685,50.095), (14.255,50.405,14.445,50.595), (16.785,50.405,16.975,50.595), (21.845,50.405,22.035,50.595), (5.835,51.705,6.025,51.895), (13.455,51.705,13.645,51.895), (5.145,56.185,5.335,56.375), (11.155,56.185,11.345,56.375), (2.295,65.005,2.485,65.195), (4.955,65.005,5.145,65.195), (9.215,65.005,9.405,65.195), (11.875,65.005,12.065,65.195), (16.135,65.005,16.325,65.195), (18.795,65.005,18.985,65.195), (2.295,65.905,2.485,66.095), (18.795,65.905,18.985,66.095)])
A(svf_2nd, Metal3, 3.62, 0, 0.2, 54.1, 3, 1, 6.92, 0)
A(svf_2nd, Metal3, 14.25, 0, 0.2, 47.1, 4, 1, 2.53, 0)
A(svf_2nd, Metal3, 25.66, 11.515, 0.39, 0.39, 5, 1, 8.64, 0)
A(svf_2nd, Metal3, 14.155, 46.805, 0.39, 0.39, 4, 1, 2.53, 0)
A(svf_2nd, Metal3, 3.525, 53.805, 0.39, 0.39, 3, 1, 6.92, 0)
A(svf_2nd, Metal3, 5.735, 63.305, 0.39, 0.39, 3, 1, 6.92, 0)
R(svf_2nd, Metal3, [(0,0,64,2), (0,0,64,2), (2.49,0,2.69,46.6), (7.985,0.985,8.375,1.375), (19.985,0.985,20.375,1.375), (39.985,0.985,40.375,1.375), (54.985,0.985,55.375,1.375), (2.935,2.705,3.325,3.095), (2.935,2.705,3.325,3.095), (2.94,2.705,3.325,3.095), (6.915,2.705,7.305,3.095), (6.915,2.705,7.305,3.095), (6.915,2.705,7.305,3.095), (11.8,2.705,12.19,3.095), (11.8,2.705,12.19,3.095), (11.8,2.705,12.19,3.095), (17.965,2.705,18.355,3.095), (17.965,2.705,18.355,3.095), (17.965,2.705,18.355,3.095), (25.66,2.705,26.05,3.095), (25.66,2.705,26.05,3.095), (25.66,2.705,26.05,3.095), (34.3,2.705,34.69,3.095), (34.3,2.705,34.69,3.095), (34.3,2.705,34.69,3.095), (42.94,2.705,43.33,3.095), (42.94,2.705,43.33,3.095), (42.94,2.705,43.33,3.095), (51.58,2.705,51.97,3.095), (51.58,2.705,51.97,3.095), (51.58,2.705,51.97,3.095), (60.22,2.705,60.61,3.095), (60.22,2.705,60.61,3.095), (60.22,2.705,60.61,3.095), (2.935,6.32,3.325,6.71), (6.915,7.07,7.305,7.46), (11.8,8.13,12.19,8.52), (7.505,9.585,7.895,9.975), (17.965,9.625,18.355,10.015), (7.6,9.68,7.8,22.1), (8.205,10.285,8.595,10.675), (8.3,10.38,8.5,23.6), (8.905,10.985,9.295,11.375), (9,11.08,9.2,25.1), (9.605,11.685,9.995,12.075), (9.7,11.78,9.9,26.6), (6.985,18.085,7.375,18.475), (23.985,18.085,24.375,18.475), (36.985,18.085,37.375,18.475), (7.08,18.18,7.28,67), (24.08,18.18,24.28,67), (37.08,18.18,37.28,67), (5.045,18.405,5.435,18.795), (5.045,18.405,5.435,18.795), (11.055,18.405,11.445,18.795), (39.255,18.405,39.645,18.795), (39.255,18.405,39.645,18.795), (5.14,18.5,5.34,56.38), (11.15,18.5,11.35,56.38), (7.505,21.805,7.895,22.195), (51.735,21.805,52.125,22.195), (51.83,21.9,52.03,67), (8.205,23.305,8.595,23.695), (8.905,24.805,9.295,25.195), (9.605,26.305,9.995,26.695), (6.255,30.605,6.645,30.995), (6.35,30.7,6.55,56.38), (6.255,31.305,6.645,31.695), (13.355,43.115,13.745,43.505), (39.255,43.115,39.645,43.505), (13.45,43.21,13.65,51.9), (39.35,43.41,39.55,48.3), (12.655,46.105,13.045,46.495), (12.75,46.2,12.95,50.6), (2.395,46.305,2.785,46.695), (12.655,48.205,13.045,48.595), (12.655,48.205,13.045,48.595), (39.255,48.205,39.645,48.595), (19.575,49.005,19.965,49.395), (19.67,49.1,19.87,63.6), (2.395,49.805,2.785,50.195), (2.49,49.9,2.69,67), (12.655,50.305,13.045,50.695), (14.155,50.305,14.545,50.695), (16.685,50.305,17.075,50.695), (21.745,50.305,22.135,50.695), (12.75,50.4,12.95,63.6), (14.25,50.4,14.45,67), (16.78,50.4,16.98,67), (21.84,50.4,22.04,67), (5.735,51.605,6.125,51.995), (13.355,51.605,13.745,51.995), (5.83,51.7,6.03,63.6), (5.045,56.085,5.435,56.475), (11.055,56.085,11.445,56.475), (2.195,64.905,2.585,65.295), (4.855,64.905,5.245,65.295), (9.115,64.905,9.505,65.295), (11.775,64.905,12.165,65.295), (16.035,64.905,16.425,65.295), (18.695,64.905,19.085,65.295), (0,65,64,67), (0,65,64,67), (2.29,65,2.49,67), (4.95,65,5.15,67), (9.21,65,9.41,67), (11.87,65,12.07,67), (16.13,65,16.33,67), (18.79,65,18.99,67), (2.195,65.805,2.585,66.195), (18.695,65.805,19.085,66.195)])
R(svf_2nd, Metal3_pin, [(0,0,64,2), (0,65,64,67)])
A(svf_2nd, NWell, 49.69, 6.19, 1.51, 4.62, 1, 4, 0, 9)
A(svf_2nd, NWell, 1.92, 13.19, 1.51, 4.62, 16, 1, 2.39, 0)
A(svf_2nd, NWell, 1.89, 62.19, 4.54, 2.62, 3, 1, 6.92, 0)
A(svf_2nd, NWell, 2.39, 64.79, 0.98, 0.98, 3, 1, 6.92, 0)
R(svf_2nd, NWell, [(51.2,6.19,51.82,37.81), (1.92,13.19,39.28,17.81), (6.69,17.79,7.67,18.77), (23.69,17.79,24.67,18.77), (36.69,17.79,37.67,18.77), (51.44,21.51,52.42,22.49), (2.09,48.69,3.97,51.31), (13.69,49.19,24.43,51.81), (2.09,51.29,3.07,52.27), (13.69,51.79,14.67,52.77)])
A(svf_2nd, MIM, 22.355, 3.5, 7, 7, 5, 1, 8.64, 0)
R(svf_2nd, MIM, [(2.23,3.5,4.035,5.305), (5.835,3.5,8.39,6.055), (10.19,3.5,13.805,7.115), (15.605,3.5,20.715,8.61), (2,19,25.1,42.1), (27.9,19,51,42.1)])
A(svf_2nd, Via3, 25.76, 2.805, 0.19, 0.19, 5, 2, 8.64, 8.81)
R(svf_2nd, Via3, [(3.035,2.805,3.225,2.995), (7.015,2.805,7.205,2.995), (11.9,2.805,12.09,2.995), (18.065,2.805,18.255,2.995), (3.035,6.42,3.225,6.61), (7.015,7.17,7.205,7.36), (11.9,8.23,12.09,8.42), (18.065,9.725,18.255,9.915), (5.145,18.505,5.335,18.695), (11.155,18.505,11.345,18.695), (39.355,18.505,39.545,18.695), (13.455,43.215,13.645,43.405), (39.355,43.215,39.545,43.405), (12.755,48.305,12.945,48.495), (39.355,48.305,39.545,48.495)])
R(svf_2nd, Metal4, [(2.935,2.705,3.325,3.095), (2.935,2.705,3.325,3.095), (6.915,2.705,7.305,3.095), (6.915,2.705,7.305,3.095), (11.8,2.705,12.19,3.095), (11.8,2.705,12.19,3.095), (17.965,2.705,18.355,3.095), (17.965,2.705,18.355,3.095), (25.66,2.705,26.05,3.095), (25.66,2.705,26.05,3.095), (34.3,2.705,34.69,3.095), (34.3,2.705,34.69,3.095), (42.94,2.705,43.33,3.095), (42.94,2.705,43.33,3.095), (51.58,2.705,51.97,3.095), (51.58,2.705,51.97,3.095), (60.22,2.705,60.61,3.095), (60.22,2.705,60.61,3.095), (2.935,6.32,3.325,6.71), (2.935,6.32,3.325,6.71), (6.915,7.07,7.305,7.46), (6.915,7.07,7.305,7.46), (11.8,8.13,12.19,8.52), (11.8,8.13,12.19,8.52), (17.965,9.625,18.355,10.015), (17.965,9.625,18.355,10.015), (25.66,11.515,26.05,11.905), (25.66,11.515,26.05,11.905), (34.3,11.515,34.69,11.905), (34.3,11.515,34.69,11.905), (42.94,11.515,43.33,11.905), (42.94,11.515,43.33,11.905), (51.58,11.515,51.97,11.905), (51.58,11.515,51.97,11.905), (60.22,11.515,60.61,11.905), (60.22,11.515,60.61,11.905), (5.045,18.405,5.435,18.795), (5.045,18.405,5.435,18.795), (11.055,18.405,11.445,18.795), (11.055,18.405,39.645,18.795), (39.255,18.405,39.645,18.795), (39.255,18.405,39.645,18.795), (13.355,43.115,13.745,43.505), (13.355,43.115,13.745,43.505), (39.255,43.115,39.645,43.505), (39.255,43.115,39.645,43.505), (12.655,48.205,13.045,48.595), (12.655,48.205,39.645,48.595), (39.255,48.205,39.645,48.595)])
A(svf_2nd, Via4, 25.76, 2.805, 0.19, 0.19, 5, 2, 8.64, 8.81)
R(svf_2nd, Via4, [(3.035,2.805,3.225,2.995), (7.015,2.805,7.205,2.995), (11.9,2.805,12.09,2.995), (18.065,2.805,18.255,2.995), (3.035,6.42,3.225,6.61), (7.015,7.17,7.205,7.36), (11.9,8.23,12.09,8.42), (18.065,9.725,18.255,9.915), (5.145,18.505,5.335,18.695), (39.355,18.505,39.545,18.695), (13.455,43.215,13.645,43.405), (39.355,43.215,39.545,43.405)])
A(svf_2nd, Metal5, 25.66, 2.705, 0.39, 0.39, 5, 2, 8.64, 8.81)
A(svf_2nd, Metal5, 21.755, 2.9, 8.2, 8.2, 5, 1, 8.64, 0)
A(svf_2nd, Metal5, 25.545, 11.4, 0.62, 0.62, 5, 1, 8.64, 0)
R(svf_2nd, Metal5, [(2.935,2.705,3.325,3.095), (6.915,2.705,7.305,3.095), (11.8,2.705,12.19,3.095), (17.965,2.705,18.355,3.095), (1.63,2.9,4.635,5.905), (5.235,2.9,8.99,6.655), (9.59,2.9,14.405,7.715), (15.005,2.9,21.315,9.21), (2.82,6.205,3.44,6.825), (2.935,6.32,3.325,6.71), (6.8,6.955,7.42,7.575), (6.915,7.07,7.305,7.46), (11.685,8.015,12.305,8.635), (11.8,8.13,12.19,8.52), (17.85,9.51,18.47,10.13), (17.965,9.625,18.355,10.015), (1.4,18.4,25.7,42.7), (27.3,18.4,51.6,42.7), (5.045,18.405,5.435,18.795), (39.255,18.405,39.645,18.795), (13.24,43,13.86,43.62), (39.14,43,39.76,43.62), (13.355,43.115,13.745,43.505), (39.255,43.115,39.645,43.505)])
A(svf_2nd, TopVia1, 25.645, 11.5, 0.42, 0.42, 5, 1, 8.64, 0)
R(svf_2nd, TopVia1, [(2.92,6.305,3.34,6.725), (6.9,7.055,7.32,7.475), (11.785,8.115,12.205,8.535), (17.95,9.61,18.37,10.03), (13.34,43.1,13.76,43.52), (39.24,43.1,39.66,43.52)])
A(svf_2nd, TopMetal1, 22.355, 3.5, 7, 9.03, 5, 1, 8.64, 0)
A(svf_2nd, TopMetal1, 25.035, 10.89, 1.64, 1.64, 5, 1, 8.64, 0)
R(svf_2nd, TopMetal1, [(2.23,3.5,4.035,7.335), (5.835,3.5,8.39,8.085), (10.19,3.5,13.805,9.145), (15.605,3.5,20.715,10.64), (2.31,5.695,3.95,7.335), (6.29,6.445,7.93,8.085), (11.175,7.505,12.815,9.145), (17.34,9,18.98,10.64), (2,19,25.1,44.13), (27.9,19,51,44.13), (12.73,42.49,14.37,44.13), (38.63,42.49,40.27,44.13)])
R(svf_2nd, L189_0, [(0,0,64,67)])
svf_2nd.add(gdstk.Label('vin', (0.25,30.8), layer=10, texttype=25))
svf_2nd.add(gdstk.Label('vout', (63.75,31), layer=10, texttype=25))
svf_2nd.add(gdstk.Label('sel0', (0.25,6.5), layer=10, texttype=25))
svf_2nd.add(gdstk.Label('sel1', (0.25,15.5), layer=10, texttype=25))
svf_2nd.add(gdstk.Label('sc_clk', (0.25,44), layer=10, texttype=25))
svf_2nd.add(gdstk.Label('q0', (0.25,22), layer=10, texttype=25))
svf_2nd.add(gdstk.Label('q1', (0.25,23.5), layer=10, texttype=25))
svf_2nd.add(gdstk.Label('q2', (0.25,25), layer=10, texttype=25))
svf_2nd.add(gdstk.Label('q3', (0.25,26.5), layer=10, texttype=25))
svf_2nd.add(gdstk.Label('vdd', (32,66), layer=30, texttype=25))
svf_2nd.add(gdstk.Label('vss', (32,1), layer=30, texttype=25))

lib.write_gds('svf_2nd.gds')
